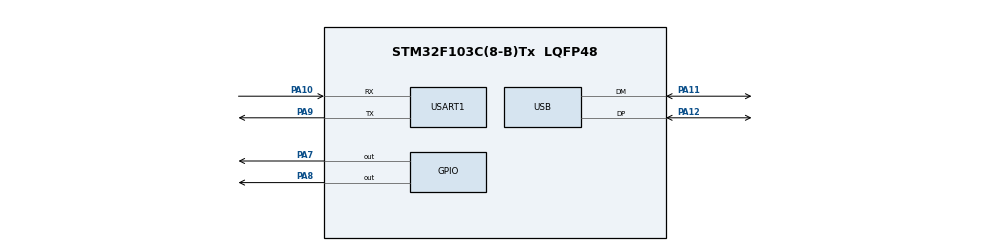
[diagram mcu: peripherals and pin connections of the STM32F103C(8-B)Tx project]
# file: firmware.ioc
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Mcu.Family=STM32F1
Mcu.Name=STM32F103C(8-B)Tx
Mcu.Package=LQFP48
NVIC.PriorityGroup=NVIC_PRIORITYGROUP_2
NVIC.USART1_IRQn=true\:0\:0\:false\:false\:true\:true\:true
NVIC.USB_HP_CAN1_TX_IRQn=true\:0\:0\:false\:false\:true\:true\:true
NVIC.USB_LP_CAN1_RX0_IRQn=true\:0\:0\:false\:false\:true\:true\:true
PA10.Mode=Asynchronous
PA10.Signal=USART1_RX
PA11.Mode=Device
PA11.Signal=USB_DM
PA12.Mode=Device
PA12.Signal=USB_DP
PA13.Mode=Serial_Wire
PA13.Signal=SYS_JTMS-SWDIO
PA14.Mode=Serial_Wire
PA14.Signal=SYS_JTCK-SWCLK
PA7.Signal=GPIO_Output
PA8.Signal=GPIO_Output
PA9.Mode=Asynchronous
PA9.Signal=USART1_TX
PD0-OSC_IN.Mode=HSE-External-Oscillator
PD0-OSC_IN.Signal=RCC_OSC_IN
PD1-OSC_OUT.Mode=HSE-External-Oscillator
PD1-OSC_OUT.Signal=RCC_OSC_OUT
ProjectManager.HeapSize=0x200
ProjectManager.StackSize=0x400
ProjectManager.TargetToolchain=Makefile
RCC.AHBFreq_Value=48000000
RCC.APB1CLKDivider=RCC_HCLK_DIV4
RCC.APB1Freq_Value=12000000
RCC.APB1TimFreq_Value=24000000
RCC.APB2Freq_Value=48000000
RCC.APB2TimFreq_Value=48000000
RCC.HCLKFreq_Value=48000000
RCC.PLLMUL=RCC_PLL_MUL6
RCC.PLLSourceVirtual=RCC_PLLSOURCE_HSE
RCC.SYSCLKFreq_VALUE=48000000
RCC.SYSCLKSource=RCC_SYSCLKSOURCE_PLLCLK
RCC.USBFreq_Value=48000000
USART1.VirtualMode=VM_ASYNC
USB_DEVICE.CLASS_NAME_FS=HID
USB_DEVICE.USBD_MAX_NUM_INTERFACES=4
USB_DEVICE.VirtualMode=Hid
USB_DEVICE.VirtualModeFS=Hid_FS
VP_USB_DEVICE_VS_USB_DEVICE_HID_FS.Mode=HID_FS
board=custom

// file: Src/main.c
/* USER CODE BEGIN Header */
/**
 ******************************************************************************
 * @file           : main.c
 * @brief          : Main program body
 ******************************************************************************
 * @attention
 *
 * <h2><center>&copy; Copyright (c) 2020 STMicroelectronics.
 * All rights reserved.</center></h2>
 *
 * This software component is licensed by ST under BSD 3-Clause license,
 * the "License"; You may not use this file except in compliance with the
 * License. You may obtain a copy of the License at:
 *                        opensource.org/licenses/BSD-3-Clause
 *
 ******************************************************************************
 */
/* USER CODE END Header */
#include "main.h"
#include "usart.h"
#include "usb_device.h"
#include "gpio.h"

/* USER CODE BEGIN Includes */
#include "dap_agent.h"
#include "systime.h"
#include "my_log.h"
/* USER CODE END Includes */

void SystemClock_Config(void);

/* USER CODE BEGIN 0 */
static void UsbFakePlug(void)
{
  LL_APB2_GRP1_EnableClock(LL_APB2_GRP1_PERIPH_GPIOA);
  LL_GPIO_ResetOutputPin(GPIOA, LL_GPIO_PIN_12);

  LL_GPIO_InitTypeDef GPIO_InitStruct = {0};
  GPIO_InitStruct.Pin = LL_GPIO_PIN_12;
  GPIO_InitStruct.Mode = LL_GPIO_MODE_OUTPUT;
  GPIO_InitStruct.Speed = LL_GPIO_SPEED_FREQ_LOW;
  GPIO_InitStruct.OutputType = LL_GPIO_OUTPUT_OPENDRAIN;
  GPIO_InitStruct.Pull = LL_GPIO_PULL_UP;
  LL_GPIO_Init(GPIOA, &GPIO_InitStruct);

  LL_GPIO_ResetOutputPin(GPIOA, LL_GPIO_PIN_12);
  HAL_Delay(100);
  LL_GPIO_SetOutputPin(GPIOA, LL_GPIO_PIN_12);
}
/* USER CODE END 0 */

int main(void)
{

  /* MCU Configuration--------------------------------------------------------*/

  /* Reset of all peripherals, Initializes the Flash interface and the Systick. */
  HAL_Init();

  /* Configure the system clock */
  SystemClock_Config();

  /* USER CODE BEGIN SysInit */
  LL_SYSTICK_EnableIT();
  UsbFakePlug();
  /* USER CODE END SysInit */

  /* Initialize all configured peripherals */
  MX_GPIO_Init();
  MX_USART1_UART_Init();
  MX_USB_DEVICE_Init();
  /* USER CODE BEGIN 2 */
  LL_USART_EnableIT_RXNE(USART1);
  /* USER CODE END 2 */

  /* Infinite loop */
  /* USER CODE BEGIN WHILE */
  DapAgent_Init();
  // CL_LOG_INFO("init done");
  while (1)
  {
    /* USER CODE END WHILE */

    /* USER CODE BEGIN 3 */
    // static bool ledOn = false;
    static uint32_t lastTime = 0;
    if (SysTimeSpan(lastTime) >= SYSTIME_SECOND(1))
    {
      lastTime = GetSysTime();
      // CL_LOG_INFO("%lds", lastTime / 1000);
      // DapAgent_Test();

      // ledOn = !ledOn;
      // if (ledOn)
      //   LL_GPIO_ResetOutputPin(GPIOA, LL_GPIO_PIN_8);
      // else
      //   LL_GPIO_SetOutputPin(GPIOA, LL_GPIO_PIN_8);
    }
    DapAgent_Process();
  }
  /* USER CODE END 3 */
}

void SystemClock_Config(void)
{
  LL_FLASH_SetLatency(LL_FLASH_LATENCY_1);
  while(LL_FLASH_GetLatency()!= LL_FLASH_LATENCY_1)
  {
  }
  LL_RCC_HSE_Enable();

   /* Wait till HSE is ready */
  while(LL_RCC_HSE_IsReady() != 1)
  {

  }
  LL_RCC_PLL_ConfigDomain_SYS(LL_RCC_PLLSOURCE_HSE_DIV_1, LL_RCC_PLL_MUL_6);
  LL_RCC_PLL_Enable();

   /* Wait till PLL is ready */
  while(LL_RCC_PLL_IsReady() != 1)
  {

  }
  LL_RCC_SetAHBPrescaler(LL_RCC_SYSCLK_DIV_1);
  LL_RCC_SetAPB1Prescaler(LL_RCC_APB1_DIV_4);
  LL_RCC_SetAPB2Prescaler(LL_RCC_APB2_DIV_1);
  LL_RCC_SetSysClkSource(LL_RCC_SYS_CLKSOURCE_PLL);

   /* Wait till System clock is ready */
  while(LL_RCC_GetSysClkSource() != LL_RCC_SYS_CLKSOURCE_STATUS_PLL)
  {

  }
  LL_SetSystemCoreClock(48000000);

   /* Update the time base */
  if (HAL_InitTick (TICK_INT_PRIORITY) != HAL_OK)
  {
    Error_Handler();
  }
  LL_RCC_SetUSBClockSource(LL_RCC_USB_CLKSOURCE_PLL);
}

void Error_Handler(void)
{
}

/************************ (C) COPYRIGHT STMicroelectronics *****END OF FILE****/
